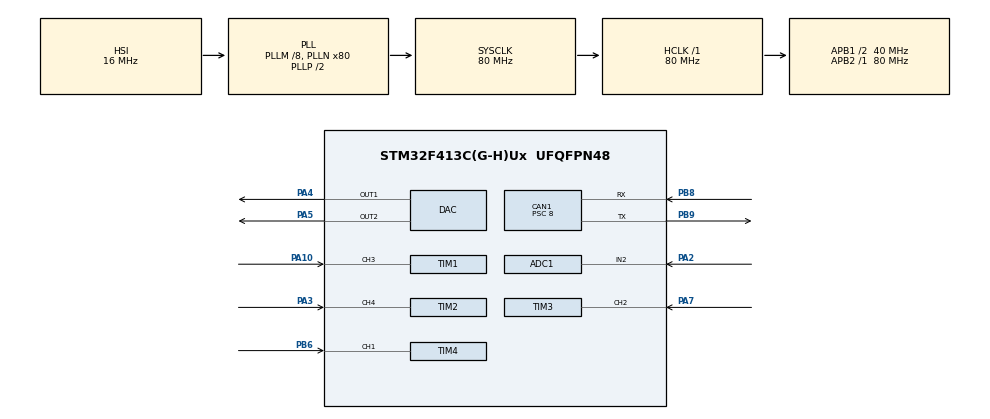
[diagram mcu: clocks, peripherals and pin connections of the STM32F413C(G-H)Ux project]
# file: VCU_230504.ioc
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ADC1.Channel-0\#ChannelRegularConversion=ADC_CHANNEL_2
ADC1.ContinuousConvMode=ENABLE
ADC1.DMAContinuousRequests=ENABLE
ADC1.NbrOfConversion=1
ADC1.NbrOfConversionFlag=1
ADC1.Rank-0\#ChannelRegularConversion=1
ADC1.SamplingTime-0\#ChannelRegularConversion=ADC_SAMPLETIME_56CYCLES
ADC1.master=1
CAN1.BS1=CAN_BS1_4TQ
CAN1.BS2=CAN_BS2_5TQ
CAN1.CalculateBaudRate=500000
CAN1.CalculateTimeBit=2000
CAN1.CalculateTimeQuantum=200.0
CAN1.Prescaler=8
Dma.ADC1.0.Direction=DMA_PERIPH_TO_MEMORY
Dma.ADC1.0.FIFOMode=DMA_FIFOMODE_DISABLE
Dma.ADC1.0.Instance=DMA2_Stream0
Dma.ADC1.0.MemDataAlignment=DMA_MDATAALIGN_HALFWORD
Dma.ADC1.0.MemInc=DMA_MINC_ENABLE
Dma.ADC1.0.Mode=DMA_CIRCULAR
Dma.ADC1.0.PeriphDataAlignment=DMA_PDATAALIGN_HALFWORD
Dma.ADC1.0.PeriphInc=DMA_PINC_DISABLE
Dma.ADC1.0.Priority=DMA_PRIORITY_LOW
Dma.Request0=ADC1
Dma.Request1=TIM2_UP/CH4
Dma.Request2=TIM3_CH2
Dma.Request3=TIM1_CH3
Dma.Request4=TIM4_CH1
Dma.TIM1_CH3.3.Direction=DMA_PERIPH_TO_MEMORY
Dma.TIM1_CH3.3.FIFOMode=DMA_FIFOMODE_DISABLE
Dma.TIM1_CH3.3.Instance=DMA2_Stream6
Dma.TIM1_CH3.3.MemDataAlignment=DMA_MDATAALIGN_HALFWORD
Dma.TIM1_CH3.3.MemInc=DMA_MINC_ENABLE
Dma.TIM1_CH3.3.Mode=DMA_CIRCULAR
Dma.TIM1_CH3.3.PeriphDataAlignment=DMA_PDATAALIGN_HALFWORD
Dma.TIM1_CH3.3.PeriphInc=DMA_PINC_DISABLE
Dma.TIM1_CH3.3.Priority=DMA_PRIORITY_LOW
Dma.TIM2_UP/CH4.1.Direction=DMA_PERIPH_TO_MEMORY
Dma.TIM2_UP/CH4.1.FIFOMode=DMA_FIFOMODE_DISABLE
Dma.TIM2_UP/CH4.1.Instance=DMA1_Stream7
Dma.TIM2_UP/CH4.1.MemDataAlignment=DMA_MDATAALIGN_HALFWORD
Dma.TIM2_UP/CH4.1.MemInc=DMA_MINC_ENABLE
Dma.TIM2_UP/CH4.1.Mode=DMA_CIRCULAR
Dma.TIM2_UP/CH4.1.PeriphDataAlignment=DMA_PDATAALIGN_HALFWORD
Dma.TIM2_UP/CH4.1.PeriphInc=DMA_PINC_DISABLE
Dma.TIM2_UP/CH4.1.Priority=DMA_PRIORITY_LOW
Dma.TIM3_CH2.2.Direction=DMA_PERIPH_TO_MEMORY
Dma.TIM3_CH2.2.FIFOMode=DMA_FIFOMODE_DISABLE
Dma.TIM3_CH2.2.Instance=DMA1_Stream5
Dma.TIM3_CH2.2.MemDataAlignment=DMA_MDATAALIGN_HALFWORD
Dma.TIM3_CH2.2.MemInc=DMA_MINC_ENABLE
Dma.TIM3_CH2.2.Mode=DMA_CIRCULAR
Dma.TIM3_CH2.2.PeriphDataAlignment=DMA_PDATAALIGN_HALFWORD
Dma.TIM3_CH2.2.PeriphInc=DMA_PINC_DISABLE
Dma.TIM3_CH2.2.Priority=DMA_PRIORITY_LOW
Dma.TIM4_CH1.4.Direction=DMA_PERIPH_TO_MEMORY
Dma.TIM4_CH1.4.FIFOMode=DMA_FIFOMODE_DISABLE
Dma.TIM4_CH1.4.Instance=DMA1_Stream0
Dma.TIM4_CH1.4.MemDataAlignment=DMA_MDATAALIGN_HALFWORD
Dma.TIM4_CH1.4.MemInc=DMA_MINC_ENABLE
Dma.TIM4_CH1.4.Mode=DMA_CIRCULAR
Dma.TIM4_CH1.4.PeriphDataAlignment=DMA_PDATAALIGN_HALFWORD
Dma.TIM4_CH1.4.PeriphInc=DMA_PINC_DISABLE
Dma.TIM4_CH1.4.Priority=DMA_PRIORITY_LOW
Mcu.Family=STM32F4
Mcu.Name=STM32F413C(G-H)Ux
Mcu.Package=UFQFPN48
NVIC.CAN1_RX0_IRQn=true\:0\:0\:false\:false\:true\:true\:true\:true
NVIC.CAN1_RX1_IRQn=true\:0\:0\:false\:false\:true\:true\:true\:true
NVIC.CAN1_TX_IRQn=true\:0\:0\:false\:false\:true\:true\:true\:true
NVIC.DMA1_Stream0_IRQn=true\:0\:0\:false\:false\:true\:false\:true\:true
NVIC.DMA1_Stream5_IRQn=true\:0\:0\:false\:false\:true\:false\:true\:true
NVIC.DMA1_Stream7_IRQn=true\:0\:0\:false\:false\:true\:false\:true\:true
NVIC.DMA2_Stream0_IRQn=true\:0\:0\:false\:false\:true\:false\:true\:true
NVIC.DMA2_Stream6_IRQn=true\:0\:0\:false\:false\:true\:false\:true\:true
NVIC.PriorityGroup=NVIC_PRIORITYGROUP_4
NVIC.TIM1_BRK_TIM9_IRQn=true\:0\:0\:false\:false\:true\:true\:true\:true
NVIC.TIM1_CC_IRQn=true\:0\:0\:false\:false\:true\:true\:true\:true
NVIC.TIM1_TRG_COM_TIM11_IRQn=true\:0\:0\:false\:false\:true\:true\:true\:true
NVIC.TIM1_UP_TIM10_IRQn=true\:0\:0\:false\:false\:true\:true\:true\:true
NVIC.TIM2_IRQn=true\:0\:0\:false\:false\:true\:true\:true\:true
NVIC.TIM3_IRQn=true\:0\:0\:false\:false\:true\:true\:true\:true
NVIC.TIM4_IRQn=true\:0\:0\:false\:false\:true\:true\:true\:true
PA10.Signal=S_TIM1_CH3
PA13.Mode=Serial_Wire
PA13.Signal=SYS_JTMS-SWDIO
PA14.Mode=Serial_Wire
PA14.Signal=SYS_JTCK-SWCLK
PA2.Signal=ADCx_IN2
PA3.Signal=S_TIM2_CH4
PA4.Signal=COMP_DAC1_group
PA5.Signal=COMP_DAC2_group
PA7.Signal=S_TIM3_CH2
PB6.Signal=S_TIM4_CH1
PB8.Mode=CAN_Activate
PB8.Signal=CAN1_RX
PB9.Mode=CAN_Activate
PB9.Signal=CAN1_TX
PC14-OSC32_IN.Mode=LSE-External-Oscillator
PC14-OSC32_IN.Signal=RCC_OSC32_IN
PC15-OSC32_OUT.Mode=LSE-External-Oscillator
PC15-OSC32_OUT.Signal=RCC_OSC32_OUT
PH0\ -\ OSC_IN.Mode=HSE-External-Oscillator
PH0\ -\ OSC_IN.Signal=RCC_OSC_IN
PH1\ -\ OSC_OUT.Mode=HSE-External-Oscillator
PH1\ -\ OSC_OUT.Signal=RCC_OSC_OUT
ProjectManager.HeapSize=0x200
ProjectManager.StackSize=0x400
ProjectManager.TargetToolchain=STM32CubeIDE
RCC.AHBFreq_Value=80000000
RCC.APB1CLKDivider=RCC_HCLK_DIV2
RCC.APB1Freq_Value=40000000
RCC.APB1TimFreq_Value=80000000
RCC.APB2Freq_Value=80000000
RCC.APB2TimFreq_Value=80000000
RCC.CortexFreq_Value=80000000
RCC.HCLKFreq_Value=80000000
RCC.PLLM=8
RCC.PLLN=80
RCC.SYSCLKFreq_VALUE=80000000
RCC.SYSCLKSource=RCC_SYSCLKSOURCE_PLLCLK
RCC.USBFreq_Value=80000000
RCC.VCOOutputFreq_Value=160000000
SH.ADCx_IN2.0=ADC1_IN2,IN2
SH.COMP_DAC1_group.0=DAC_OUT1,DAC_OUT1
SH.COMP_DAC2_group.0=DAC_OUT2,DAC_OUT2
SH.S_TIM1_CH3.0=TIM1_CH3,Input_Capture3_from_TI3
SH.S_TIM2_CH4.0=TIM2_CH4,Input_Capture4_from_TI4
SH.S_TIM3_CH2.0=TIM3_CH2,Input_Capture2_from_TI2
SH.S_TIM4_CH1.0=TIM4_CH1,Input_Capture1_from_TI1
TIM1.Channel-Input_Capture3_from_TI3=TIM_CHANNEL_3
TIM1.ICFilter_CH3=15
TIM1.Period=39999
TIM1.Prescaler=1999
TIM2.Channel-Input_Capture4_from_TI4=TIM_CHANNEL_4
TIM2.ICFilter_CH4=15
TIM2.Period=39999
TIM2.Prescaler=1999
TIM3.AutoReloadPreload=TIM_AUTORELOAD_PRELOAD_DISABLE
TIM3.Channel-Input_Capture2_from_TI2=TIM_CHANNEL_2
TIM3.ICFilter_CH2=15
TIM3.Period=39999
TIM3.Prescaler=1999
TIM4.Channel-Input_Capture1_from_TI1=TIM_CHANNEL_1
TIM4.Period=39999
TIM4.Prescaler=1999
VP_TIM2_VS_ClockSourceINT.Mode=Internal
VP_TIM3_VS_ClockSourceINT.Mode=Internal
VP_TIM4_VS_ClockSourceINT.Mode=Internal
board=custom

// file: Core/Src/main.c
/* USER CODE BEGIN Header */
/**
  ******************************************************************************
  * @file           : main.c
  * @brief          : Main program body
  ******************************************************************************
  * @attention
  *
  * Copyright (c) 2023 STMicroelectronics.
  * All rights reserved.
  *
  * This software is licensed under terms that can be found in the LICENSE file
  * in the root directory of this software component.
  * If no LICENSE file comes with this software, it is provided AS-IS.
  *
  ******************************************************************************
  */
/* USER CODE END Header */
#include "main.h"
#include "adc.h"
#include "can.h"
#include "dac.h"
#include "dma.h"
#include "tim.h"
#include "gpio.h"

/* USER CODE BEGIN Includes */
#include "can_it.h"
#include "stm32f4xx_it.h"

/* USER CODE END Includes */

/* USER CODE BEGIN PTD */
typedef int bool;
typedef struct RPM_Variable
{
	uint32_t RPM;
	uint32_t Velocity;
	float freq;
	uint32_t period;
	bool done;
} RPM_Variable;

typedef enum
{
	brake = 0,
	RPM = 1,
} TXFlag;
/* USER CODE END PTD */

/* USER CODE BEGIN PD */
#define PPR 4
#define true  1
#define false 0
/* USER CODE END PD */

/* USER CODE BEGIN PV */
uint16_t capture1[2];
uint16_t capture2[2];
uint16_t capture3[2];
uint16_t capture4[2];
uint16_t Apps =0;
uint32_t ADC_Value[1];
RPM_Variable Front_L;
RPM_Variable Rear_L;
RPM_Variable Front_R;
RPM_Variable Rear_R;
float table[288] = {0}, k = 0.486; // apps table, k = torque const
uint16_t Total_Torque = 0; //
uint32_t dac_value=0;
uint32_t KPH_velocity=0;
uint32_t mailbox;
uint8_t tx_flag = 0;
uint8_t TXData_RPM[8];
uint8_t TXData_Brake[8];
uint32_t pressure;
uint32_t tim2_test=0;
extern uint16_t Motor_RPM_PM100dx;
extern uint8_t SOC_100;

CAN_TxHeaderTypeDef TXH_RPM;
CAN_TxHeaderTypeDef TXH_Brake;
CAN_FilterTypeDef filtername;

/* USER CODE END PV */

void SystemClock_Config(void);
/* USER CODE BEGIN PFP */
void HAL_TIM_PeriodElapsedCallback(TIM_HandleTypeDef *htim);
//void CAN_Header_Config(CAN_TxHeaderTypeDef *TX_Header);
void Measure(RPM_Variable *Front_R_Wheel, RPM_Variable *Front_L_Wheel, RPM_Variable *Rear_R_Wheel, RPM_Variable *Rear_L_Wheel, uint8_t TXData[8]);
void Calc_RPM(RPM_Variable *Front_R_Wheel, RPM_Variable *Front_L_Wheel, RPM_Variable*Rear_R_Wheel, RPM_Variable*Rear_L_Wheel, uint8_t TXData[8]);
//void CAN_Tx(CAN_TxHeaderTypeDef *Tx_Header, uint8_t TXData[8], uint32_t *Mailbox);
void HAL_TIM_IC_CaptureCallback(TIM_HandleTypeDef *htim);
uint32_t map(uint32_t x, uint32_t in_min, uint32_t in_max, uint32_t out_min, uint32_t out_max);
void callbackSystick();
void Brake_Pressure(uint8_t TXData[8]);
/* USER CODE END PFP */

int main(void)
{

  /* MCU Configuration--------------------------------------------------------*/

  /* Reset of all peripherals, Initializes the Flash interface and the Systick. */
  HAL_Init();

  /* Configure the system clock */
  SystemClock_Config();

  /* Initialize all configured peripherals */
  MX_GPIO_Init();
  MX_DMA_Init();
  MX_CAN1_Init();
  MX_TIM2_Init();
  MX_ADC1_Init();
  MX_TIM4_Init();
  MX_DAC_Init();
  MX_TIM3_Init();
  MX_TIM1_Init();
  /* USER CODE BEGIN 2 */
  HAL_TIM_IC_Start_DMA(&htim1, TIM_CHANNEL_3, (uint32_t*)capture1, 2);
  //htim3.State = HAL_TIM_STATE_READY;
  HAL_TIM_IC_Start_DMA(&htim2, TIM_CHANNEL_4, (uint32_t *)capture2, 2);
  HAL_TIM_IC_Start_DMA(&htim3, TIM_CHANNEL_2, (uint32_t *)capture3, 2);
  HAL_TIM_IC_Start_DMA(&htim4, TIM_CHANNEL_1, (uint32_t *)capture4, 2);
  CAN_Filter_defunc(&filtername);
  CAN_TX_Header_defunc(&TXH_RPM, 0x1b0);
  CAN_TX_Header_defunc(&TXH_Brake, 0x1b1);
  CAN_Error_Handler(&hcan1, &filtername);
  HAL_DAC_Start(&hdac, DAC_CHANNEL_1); // speed (km/h)
  HAL_DAC_Start(&hdac, DAC_CHANNEL_2); // SOC

  /* USER CODE END 2 */

  /* Infinite loop */
  /* USER CODE BEGIN WHILE */
  while (1)
  {
	  Measure(&Front_R, &Front_L, &Rear_R, &Rear_L, TXData_Brake);
	  KPH_velocity = Motor_RPM_PM100dx*0.01924685;
	  HAL_DAC_SetValue(&hdac, DAC_CHANNEL_1, DAC_ALIGN_12B_R, map(KPH_velocity, 0, 120, 0, 4095));
	  HAL_DAC_SetValue(&hdac, DAC_CHANNEL_2, DAC_ALIGN_12B_R, map(SOC_100, 0, 100, 0, 4095));

    /* USER CODE END WHILE */

  }
}

void SystemClock_Config(void)
{
  RCC_OscInitTypeDef RCC_OscInitStruct = {0};
  RCC_ClkInitTypeDef RCC_ClkInitStruct = {0};

  /** Configure the main internal regulator output voltage
  */
  __HAL_RCC_PWR_CLK_ENABLE();
  __HAL_PWR_VOLTAGESCALING_CONFIG(PWR_REGULATOR_VOLTAGE_SCALE1);

  /** Initializes the RCC Oscillators according to the specified parameters
  * in the RCC_OscInitTypeDef structure.
  */
  RCC_OscInitStruct.OscillatorType = RCC_OSCILLATORTYPE_HSI;
  RCC_OscInitStruct.HSIState = RCC_HSI_ON;
  RCC_OscInitStruct.HSICalibrationValue = RCC_HSICALIBRATION_DEFAULT;
  RCC_OscInitStruct.PLL.PLLState = RCC_PLL_ON;
  RCC_OscInitStruct.PLL.PLLSource = RCC_PLLSOURCE_HSI;
  RCC_OscInitStruct.PLL.PLLM = 8;
  RCC_OscInitStruct.PLL.PLLN = 80;
  RCC_OscInitStruct.PLL.PLLP = RCC_PLLP_DIV2;
  RCC_OscInitStruct.PLL.PLLQ = 2;
  RCC_OscInitStruct.PLL.PLLR = 2;
  if (HAL_RCC_OscConfig(&RCC_OscInitStruct) != HAL_OK)
  {
    Error_Handler();
  }

  /** Initializes the CPU, AHB and APB buses clocks
  */
  RCC_ClkInitStruct.ClockType = RCC_CLOCKTYPE_HCLK|RCC_CLOCKTYPE_SYSCLK
                              |RCC_CLOCKTYPE_PCLK1|RCC_CLOCKTYPE_PCLK2;
  RCC_ClkInitStruct.SYSCLKSource = RCC_SYSCLKSOURCE_PLLCLK;
  RCC_ClkInitStruct.AHBCLKDivider = RCC_SYSCLK_DIV1;
  RCC_ClkInitStruct.APB1CLKDivider = RCC_HCLK_DIV2;
  RCC_ClkInitStruct.APB2CLKDivider = RCC_HCLK_DIV1;

  if (HAL_RCC_ClockConfig(&RCC_ClkInitStruct, FLASH_LATENCY_3) != HAL_OK)
  {
    Error_Handler();
  }
}

/* USER CODE BEGIN 4 */
void Measure(RPM_Variable *Front_R_Wheel, RPM_Variable *Front_L_Wheel, RPM_Variable *Rear_R_Wheel, RPM_Variable *Rear_L_Wheel, uint8_t TXData[8])
{
	Brake_Pressure(TXData);
	Calc_RPM(Front_R_Wheel, Front_L_Wheel, Rear_R_Wheel, Rear_L_Wheel, TXData);
}

void Brake_Pressure(uint8_t TXData[8])
{
	HAL_ADC_Start_DMA(&hadc1, ADC_Value, 1);
	//pressure =  map(ADC_Value[0], 410, 3724, 0, 1600);
	TXData[0] = (uint8_t)ADC_Value[0];
	TXData[1] = (uint8_t)(ADC_Value[0] >> 8);
	HAL_ADC_Stop_DMA(&hadc1);

}

void Calc_RPM(RPM_Variable *Front_R_Wheel, RPM_Variable *Front_L_Wheel, RPM_Variable *Rear_R_Wheel, RPM_Variable *Rear_L_Wheel, uint8_t TXData[8])
{
	if(Front_R_Wheel->done)
	{
		if(capture1[0] > capture1[1])
		{
			Front_R_Wheel->period = htim1.Instance->ARR + capture1[1] - capture1[0];
		}
		else
		{
			Front_R_Wheel->period = capture1[1] - capture1[0];
		}
		Front_R_Wheel->freq = htim1.Instance->ARR / Front_R_Wheel->period;
		Front_R_Wheel->RPM = (uint32_t)(15 * Front_R_Wheel->freq);
		Front_R_Wheel->done = false;
		TXData_RPM[0] = (uint8_t)Front_R_Wheel->RPM;
		TXData_RPM[1] = (uint8_t)Front_R_Wheel->RPM >> 8;
	}

	if(Front_L_Wheel->done)
	{
		if(capture2[0] > capture2[1])
		{
			Front_L_Wheel->period = htim2.Instance->ARR + capture2[1] - capture2[0];
		}
		else
		{
			Front_L_Wheel->period = capture2[1] - capture2[0];
		}
		Front_L_Wheel->freq = htim2.Instance->ARR / Front_L_Wheel->period;
		Front_L_Wheel->RPM = (uint32_t)(15 * Front_L_Wheel->freq);
		Front_L_Wheel->done = false;
		TXData_RPM[2] = (uint8_t)Front_L_Wheel->RPM;
		TXData_RPM[3] = (uint8_t)Front_L_Wheel->RPM >> 8;
	}

	if(Rear_R_Wheel->done)
		{
			if(capture3[0] > capture3[1])
			{
				Rear_R_Wheel->period = htim3.Instance->ARR + capture3[1] - capture3[0];
			}
			else
			{
				Rear_R_Wheel->period = capture3[1] - capture3[0];
			}
			Rear_R_Wheel->freq = htim3.Instance->ARR / Rear_R_Wheel->period;
			Rear_R_Wheel->RPM = (uint32_t)(15 * Rear_R_Wheel->freq);
			Rear_R_Wheel->done = false;
			TXData_RPM[4] = (uint8_t)Rear_R_Wheel->RPM;
			TXData_RPM[5] = (uint8_t)Rear_R_Wheel->RPM >> 8;
		}

	if(Rear_L_Wheel->done)
		{
			if(capture4[0] > capture4[1])
			{
				Rear_L_Wheel->period = htim4.Instance->ARR + capture4[1] - capture4[0];
			}
			else
			{
				Rear_L_Wheel->period = capture4[1] - capture4[0];
			}
			Rear_L_Wheel->freq = htim4.Instance->ARR / Rear_L_Wheel->period;
			Rear_L_Wheel->RPM = (uint32_t)(15 * Rear_L_Wheel->freq);
			Rear_L_Wheel->done = false;
			TXData_RPM[6] = (uint8_t)Rear_L_Wheel->RPM;
			TXData_RPM[7] = (uint8_t)Rear_L_Wheel->RPM >> 8;
		}
}

void HAL_TIM_IC_CaptureCallback(TIM_HandleTypeDef *htim)
{
	if(htim->Instance == TIM1 && htim->Channel == HAL_TIM_ACTIVE_CHANNEL_3)
	{
		Front_R.done = true;
	}
	if(htim->Instance == TIM2 && htim->Channel == HAL_TIM_ACTIVE_CHANNEL_4)
	{
		Front_L.done = true;
	}
	if(htim->Instance == TIM3 && htim->Channel == HAL_TIM_ACTIVE_CHANNEL_2)
	{
		Rear_R.done = true;
	}
	if(htim->Instance == TIM4 && htim->Channel == HAL_TIM_ACTIVE_CHANNEL_1)
	{
		Rear_L.done = true;
	}
}

uint32_t map(uint32_t x, uint32_t in_min, uint32_t in_max, uint32_t out_min, uint32_t out_max) {
  return (x - in_min) * (out_max - out_min) / (in_max - in_min) + out_min;
}

void callbackSystick() //1ms count
{
	static int count = 0;
	count++;
	if (count == 5)  //10ms send can tx message
	{
		if(tx_flag == brake)
		{
			Transmit_CAN(&hcan1, &TXH_Brake, TXData_Brake, &mailbox);
			tx_flag = RPM;
		}
		else if(tx_flag == RPM)
		{
			Transmit_CAN(&hcan1, &TXH_RPM, TXData_RPM, &mailbox);
			tx_flag = brake;
		}
		count = 0;
	}
}
/* USER CODE END 4 */

void Error_Handler(void)
{
  __disable_irq();
  while (1)
  {
  }
}
